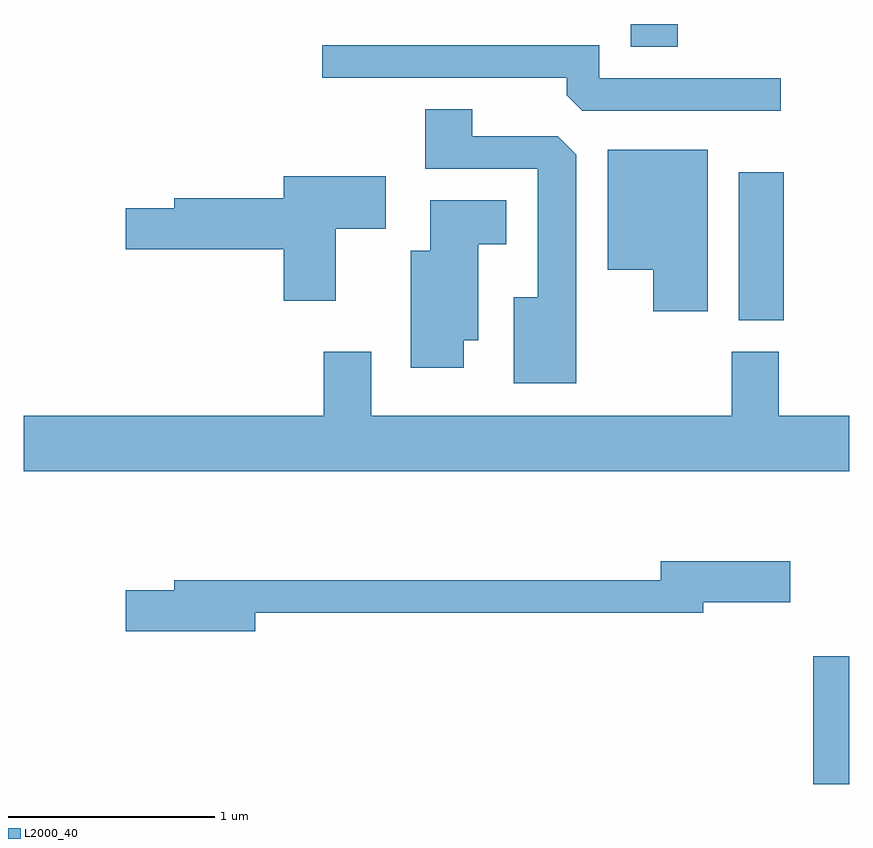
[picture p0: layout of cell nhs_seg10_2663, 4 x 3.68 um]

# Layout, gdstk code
import gdstk
lib = gdstk.Library(unit=1e-6, precision=1e-09)
def R(c, l, rs):  # rectangles x0, y0, x1, y1
    for r in rs: c.add(gdstk.rectangle(r[:2], r[2:], *l))
def P(c, l, *ps):  # polygons
    for p in ps: c.add(gdstk.Polygon(p, *l))
L2000_40 = (2000, 40)

nhs_seg10_2663 = lib.new_cell('nhs_seg10_2663')
R(nhs_seg10_2663, L2000_40, [(267.436,2116.841,267.611,2117.459), (267.076,2119.086,267.294,2119.804), (266.551,2120.411,266.779,2120.522)])
P(nhs_seg10_2663, L2000_40, [(267.278,2120.259),(266.399,2120.259),(266.399,2120.419),(265.058,2120.419),(265.058,2120.261),(266.241,2120.261),(266.241,2120.177),(266.317,2120.101),(267.278,2120.101)],
  [(266.289,2119.889),(266.199,2119.979),(265.784,2119.979),(265.784,2120.109),(265.556,2120.109),(265.556,2119.821),(266.101,2119.821),(266.101,2119.199),(265.986,2119.199),(265.986,2118.781),(266.289,2118.781)],
  [(266.924,2119.914),(266.441,2119.914),(266.441,2119.331),(266.661,2119.331),(266.661,2119.131),(266.924,2119.131)],
  [(265.124,2119.531),(265.364,2119.531),(265.364,2119.784),(264.871,2119.784),(264.871,2119.679),(264.341,2119.679),(264.341,2119.629),(264.106,2119.629),(264.106,2119.431),(264.871,2119.431),(264.871,2119.181),(265.124,2119.181)],
  [(265.744,2118.991),(265.814,2118.991),(265.814,2119.456),(265.949,2119.456),(265.949,2119.669),(265.581,2119.669),(265.581,2119.424),(265.486,2119.424),(265.486,2118.856),(265.744,2118.856)],
  [(267.611,2118.624),(267.269,2118.624),(267.269,2118.934),(267.041,2118.934),(267.041,2118.624),(265.294,2118.624),(265.294,2118.934),(265.066,2118.934),(265.066,2118.624),(263.611,2118.624),(263.611,2118.356),(267.611,2118.356)],
  [(264.734,2117.671),(266.904,2117.671),(266.904,2117.721),(267.324,2117.721),(267.324,2117.919),(266.696,2117.919),(266.696,2117.829),(264.341,2117.829),(264.341,2117.779),(264.106,2117.779),(264.106,2117.581),(264.734,2117.581)])

lib.write_gds('nhs_seg10_2663.gds')
